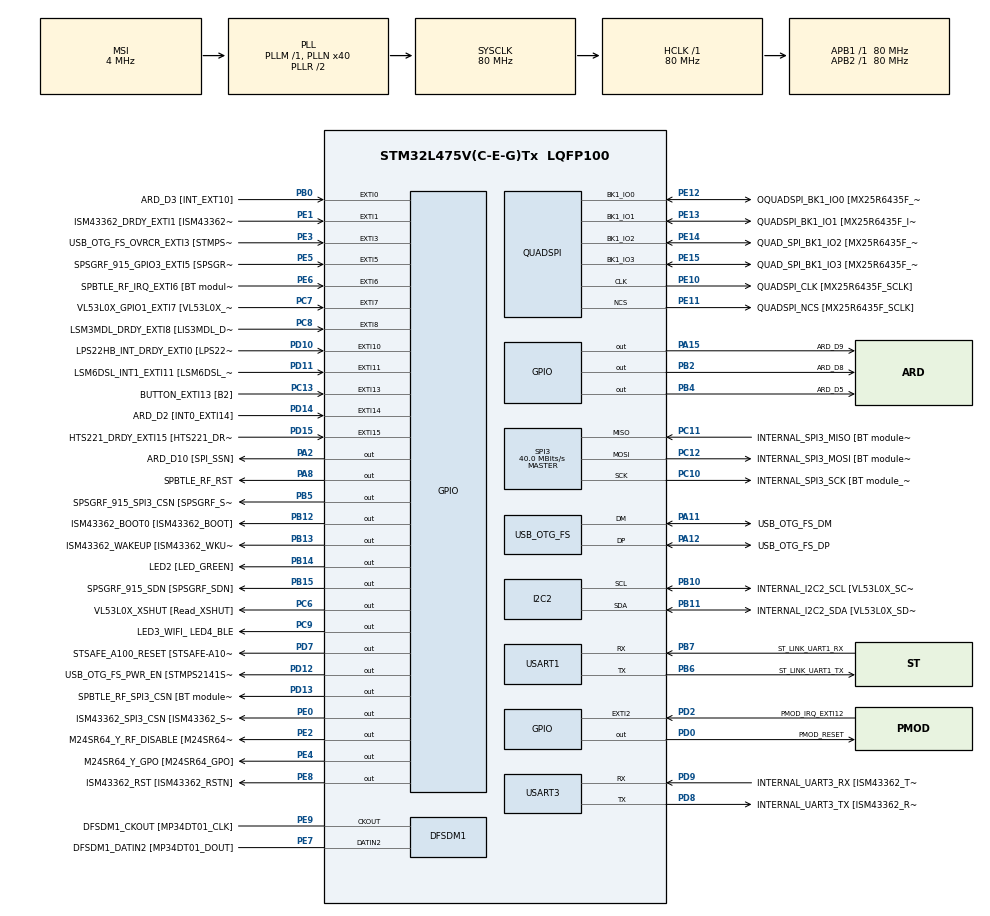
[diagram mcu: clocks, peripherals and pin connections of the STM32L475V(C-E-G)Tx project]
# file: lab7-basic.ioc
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Mcu.Family=STM32L4
Mcu.Name=STM32L475V(C-E-G)Tx
Mcu.Package=LQFP100
NVIC.EXTI15_10_IRQn=true\:0\:0\:false\:false\:true\:true\:true\:true
NVIC.EXTI9_5_IRQn=true\:0\:0\:false\:false\:true\:true\:true\:true
NVIC.PriorityGroup=NVIC_PRIORITYGROUP_4
PA0.GPIO_Label=ARD_D1 [UART4_TX]
PA0.Signal=UART4_TX
PA1.GPIO_Label=ARD_D0 [UART4_RX]
PA1.Signal=UART4_RX
PA10.GPIO_Label=USB_OTG_FS_ID
PA10.Signal=USB_OTG_FS_ID
PA11.GPIO_Label=USB_OTG_FS_DM
PA11.Mode=Device_Only
PA11.Signal=USB_OTG_FS_DM
PA12.GPIO_Label=USB_OTG_FS_DP
PA12.Mode=Device_Only
PA12.Signal=USB_OTG_FS_DP
PA13\ (JTMS-SWDIO).GPIO_Label=SYS_JTMS_SWDIO
PA13\ (JTMS-SWDIO).Mode=Serial_Wire
PA13\ (JTMS-SWDIO).Signal=SYS_JTMS-SWDIO
PA14\ (JTCK-SWCLK).GPIO_Label=SYS_JTCK_SWCLK
PA14\ (JTCK-SWCLK).Mode=Serial_Wire
PA14\ (JTCK-SWCLK).Signal=SYS_JTCK-SWCLK
PA15\ (JTDI).GPIO_Label=ARD_D9
PA15\ (JTDI).Signal=GPIO_Output
PA2.GPIO_Label=ARD_D10 [SPI_SSN]
PA2.Signal=GPIO_Output
PA3.GPIO_Label=ARD_D4
PA3.Signal=S_TIM2_CH4
PA4.GPIO_Label=ARD_D7
PA4.Signal=ADCx_IN9
PA5.GPIO_Label=ARD_D13 [SPI1_SCK]
PA5.Signal=SPI1_SCK
PA6.GPIO_Label=ARD_D12 [SPI1_MISO]
PA6.Signal=SPI1_MISO
PA7.GPIO_Label=ARD_D11 [SPI1_MOSI]
PA7.Signal=SPI1_MOSI
PA8.GPIO_Label=SPBTLE_RF_RST
PA8.Signal=GPIO_Output
PA9.GPIO_Label=USB_OTG_FS_VBUS [STMPS2141STR_OUT]
PA9.Signal=USB_OTG_FS_VBUS
PB0.GPIO_Label=ARD_D3 [INT_EXT10]
PB0.Signal=GPXTI0
PB1.GPIO_Label=ARD_D6 [ADC1_IN6]
PB1.Signal=ADCx_IN16
PB10.GPIO_Label=INTERNAL_I2C2_SCL [VL53L0X_SCL]
PB10.GPIO_Pu=GPIO_PULLUP
PB10.Mode=I2C
PB10.Signal=I2C2_SCL
PB11.GPIO_Label=INTERNAL_I2C2_SDA [VL53L0X_SDA]
PB11.GPIO_Pu=GPIO_PULLUP
PB11.Mode=I2C
PB11.Signal=I2C2_SDA
PB12.GPIO_Label=ISM43362_BOOT0 [ISM43362_BOOT]
PB12.Signal=GPIO_Output
PB13.GPIO_Label=ISM43362_WAKEUP [ISM43362_WKUP]
PB13.Signal=GPIO_Output
PB14.GPIO_Label=LED2 [LED_GREEN]
PB14.Signal=GPIO_Output
PB15.GPIO_Label=SPSGRF_915_SDN [SPSGRF_SDN]
PB15.Signal=GPIO_Output
PB2.GPIO_Label=ARD_D8
PB2.Signal=GPIO_Output
PB3\ (JTDO-TRACESWO).GPIO_Label=SYS_JTD0_SWO
PB3\ (JTDO-TRACESWO).Signal=SYS_JTDO-SWO
PB4\ (NJTRST).GPIO_Label=ARD_D5
PB4\ (NJTRST).Signal=GPIO_Output
PB5.GPIO_Label=SPSGRF_915_SPI3_CSN [SPSGRF_SPI_CS]
PB5.PinState=GPIO_PIN_SET
PB5.Signal=GPIO_Output
PB6.GPIO_Label=ST_LINK_UART1_TX
PB6.Mode=Asynchronous
PB6.Signal=USART1_TX
PB7.GPIO_Label=ST_LINK_UART1_RX
PB7.Mode=Asynchronous
PB7.Signal=USART1_RX
PB8.GPIO_Label=ARD_D15 [I2C1_SCL]
PB8.Signal=I2C1_SCL
PB9.GPIO_Label=ARD_D14 [I2C1_SDA]
PB9.Signal=I2C1_SDA
PC0.GPIO_Label=ARD_A5 [ADC]
PC0.Signal=ADCx_IN1
PC1.GPIO_Label=ARD_A4 [ADC]
PC1.Signal=ADCx_IN2
PC10.GPIO_Label=INTERNAL_SPI3_SCK [BT module_SPI_SCLK] [ISM43362_SCK]
PC10.Mode=Full_Duplex_Master
PC10.Signal=SPI3_SCK
PC11.GPIO_Label=INTERNAL_SPI3_MISO [BT module_SPI_MISO] [ISM43362_MISO]
PC11.Mode=Full_Duplex_Master
PC11.Signal=SPI3_MISO
PC12.GPIO_Label=INTERNAL_SPI3_MOSI [BT module_SPI_MOSI] [ISM43362_MOSI]
PC12.Mode=Full_Duplex_Master
PC12.Signal=SPI3_MOSI
PC13.GPIO_Label=BUTTON_EXTI13 [B2]
PC13.GPIO_ModeDefaultEXTI=GPIO_MODE_IT_FALLING
PC13.Signal=GPXTI13
PC14-OSC32_IN\ (PC14).Mode=LSE-External-Oscillator
PC14-OSC32_IN\ (PC14).Signal=RCC_OSC32_IN
PC15-OSC32_OUT\ (PC15).Mode=LSE-External-Oscillator
PC15-OSC32_OUT\ (PC15).Signal=RCC_OSC32_OUT
PC2.GPIO_Label=ARD_A3 [ADC]
PC2.Signal=ADCx_IN3
PC3.GPIO_Label=ARD_A2 [ADC]
PC3.Signal=ADCx_IN4
PC4.GPIO_Label=ARD_A1 [ADC]
PC4.Signal=ADCx_IN13
PC5.GPIO_Label=ARD_A0 [ADC]
PC5.Signal=ADCx_IN14
PC6.GPIO_Label=VL53L0X_XSHUT [Read_XSHUT]
PC6.Signal=GPIO_Output
PC7.GPIO_Label=VL53L0X_GPIO1_EXTI7 [VL53L0X_GPIO1]
PC7.Signal=GPXTI7
PC8.GPIO_Label=LSM3MDL_DRDY_EXTI8 [LIS3MDL_DRDY]
PC8.Signal=GPXTI8
PC9.GPIO_Label=LED3_WIFI_ LED4_BLE
PC9.Signal=GPIO_Output
PD0.GPIO_Label=PMOD_RESET
PD0.Signal=GPIO_Output
PD1.GPIO_Label=PMOD_SPI2_SCK
PD1.Signal=SPI2_SCK
PD10.GPIO_Label=LPS22HB_INT_DRDY_EXTI0 [LPS22HB_INT_DRDY] 
PD10.Signal=GPXTI10
PD11.GPIO_Label=LSM6DSL_INT1_EXTI11 [LSM6DSL_INT1]
PD11.Signal=GPXTI11
PD12.GPIO_Label=USB_OTG_FS_PWR_EN [STMPS2141STR_EN]
PD12.Signal=GPIO_Output
PD13.GPIO_Label=SPBTLE_RF_SPI3_CSN [BT module_SPI_CS]
PD13.PinState=GPIO_PIN_SET
PD13.Signal=GPIO_Output
PD14.GPIO_Label=ARD_D2 [INT0_EXTI14]
PD14.Signal=GPXTI14
PD15.GPIO_Label=HTS221_DRDY_EXTI15 [HTS221_DRDY]
PD15.Signal=GPXTI15
PD2.GPIO_Label=PMOD_IRQ_EXTI12
PD2.Signal=GPXTI2
PD3.GPIO_Label=PMOD_UART2_CTS
PD3.Signal=USART2_CTS
PD4.GPIO_Label=PMOD_UART2_RTS
PD4.Signal=USART2_RTS
PD5.GPIO_Label=PMOD_UART2_TX
PD5.Signal=USART2_TX
PD6.GPIO_Label=PMOD_UART2_RX
PD6.Signal=USART2_RX
PD7.GPIO_Label=STSAFE_A100_RESET [STSAFE-A100_RESET]
PD7.Signal=GPIO_Output
PD8.GPIO_Label=INTERNAL_UART3_TX [ISM43362_RX]
PD8.Mode=Asynchronous
PD8.Signal=USART3_TX
PD9.GPIO_Label=INTERNAL_UART3_RX [ISM43362_TX]
PD9.Mode=Asynchronous
PD9.Signal=USART3_RX
PE0.GPIO_Label=ISM43362_SPI3_CSN [ISM43362_SSN]
PE0.PinState=GPIO_PIN_SET
PE0.Signal=GPIO_Output
PE1.GPIO_Label=ISM43362_DRDY_EXTI1 [ISM43362_DATARDY]
PE1.Signal=GPXTI1
PE10.GPIO_Label=QUADSPI_CLK [MX25R6435F_SCLK]
PE10.Mode=Single Bank
PE10.Signal=QUADSPI_CLK
PE11.GPIO_Label=QUADSPI_NCS [MX25R6435F_SCLK]
PE11.Mode=Single Bank
PE11.Signal=QUADSPI_NCS
PE12.GPIO_Label=OQUADSPI_BK1_IO0 [MX25R6435F_IO0]
PE12.Mode=Single Bank
PE12.Signal=QUADSPI_BK1_IO0
PE13.GPIO_Label=QUADSPI_BK1_IO1 [MX25R6435F_IO1]
PE13.Mode=Single Bank
PE13.Signal=QUADSPI_BK1_IO1
PE14.GPIO_Label=QUAD_SPI_BK1_IO2 [MX25R6435F_IO2]
PE14.Mode=Single Bank
PE14.Signal=QUADSPI_BK1_IO2
PE15.GPIO_Label=QUAD_SPI_BK1_IO3 [MX25R6435F_IO3]
PE15.Mode=Single Bank
PE15.Signal=QUADSPI_BK1_IO3
PE2.GPIO_Label=M24SR64_Y_RF_DISABLE [M24SR64_RFDIS]
PE2.Signal=GPIO_Output
PE3.GPIO_Label=USB_OTG_FS_OVRCR_EXTI3 [STMPS2141STR_FAULT]
PE3.Signal=GPXTI3
PE4.GPIO_Label=M24SR64_Y_GPO [M24SR64_GPO]
PE4.Signal=GPIO_Output
PE5.GPIO_Label=SPSGRF_915_GPIO3_EXTI5 [SPSGRF_GPIO_3]
PE5.Signal=GPXTI5
PE6.GPIO_Label=SPBTLE_RF_IRQ_EXTI6 [BT module_SPI_IRQ]
PE6.Signal=GPXTI6
PE7.GPIO_Label=DFSDM1_DATIN2 [MP34DT01_DOUT]
PE7.Signal=S_DATAIN2DFSDM1
PE8.GPIO_Label=ISM43362_RST [ISM43362_RSTN]
PE8.Signal=GPIO_Output
PE9.GPIO_Label=DFSDM1_CKOUT [MP34DT01_CLK]
PE9.Signal=S_CKOUTDFSDM1
ProjectManager.HeapSize=0x200
ProjectManager.StackSize=0x400
ProjectManager.TargetToolchain=STM32CubeIDE
QUADSPI.ClockPrescaler=2
QUADSPI.FifoThreshold=4
QUADSPI.FlashSize=23
QUADSPI.SampleShifting=QSPI_SAMPLE_SHIFTING_HALFCYCLE
RCC.ADCFreq_Value=48000000
RCC.AHBFreq_Value=80000000
RCC.APB1Freq_Value=80000000
RCC.APB1TimFreq_Value=80000000
RCC.APB2Freq_Value=80000000
RCC.APB2TimFreq_Value=80000000
RCC.CortexFreq_Value=80000000
RCC.HCLKFreq_Value=80000000
RCC.HSE_VALUE=8000000
RCC.HSI_VALUE=16000000
RCC.MSI_VALUE=4000000
RCC.PLLN=40
RCC.PLLSAI1N=24
RCC.SYSCLKFreq_VALUE=80000000
RCC.SYSCLKSource=RCC_SYSCLKSOURCE_PLLCLK
RCC.USBFreq_Value=48000000
RCC.VCOOutputFreq_Value=160000000
SH.ADCx_IN1.0=ADC1_IN1
SH.ADCx_IN13.0=ADC1_IN13
SH.ADCx_IN14.0=ADC1_IN14
SH.ADCx_IN16.0=ADC1_IN16
SH.ADCx_IN2.0=ADC1_IN2
SH.ADCx_IN3.0=ADC1_IN3
SH.ADCx_IN4.0=ADC1_IN4
SH.ADCx_IN9.0=ADC1_IN9
SH.S_CKOUTDFSDM1.0=DFSDM1_CKOUT,CKOUT
SH.S_CKOUTDFSDM1.1=DFSDM1_CKOUT,PDM_SPI_Input_from_ch12_and_Internal_Clock
SH.S_DATAIN2DFSDM1.0=DFSDM1_DATIN2,PDM_SPI_Input_from_ch12_and_Internal_Clock
SH.S_TIM2_CH4.0=TIM2_CH4
SPI3.CalculateBaudRate=40.0 MBits/s
SPI3.Direction=SPI_DIRECTION_2LINES
SPI3.Mode=SPI_MODE_MASTER
SPI3.VirtualType=VM_MASTER
USART1.VirtualMode-Asynchronous=VM_ASYNC
USART3.VirtualMode-Asynchronous=VM_ASYNC
USB_OTG_FS.VirtualMode=Device_Only
board=B-L475E-IOT01A1

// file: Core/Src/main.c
/* USER CODE BEGIN Header */
/**
  ******************************************************************************
  * @file           : main.c
  * @brief          : Main program body
  ******************************************************************************
  * @attention
  *
  * Copyright (c) 2026 STMicroelectronics.
  * All rights reserved.
  *
  * This software is licensed under terms that can be found in the LICENSE file
  * in the root directory of this software component.
  * If no LICENSE file comes with this software, it is provided AS-IS.
  *
  ******************************************************************************
  */
/* USER CODE END Header */
#include "main.h"

/* USER CODE BEGIN Includes */
#include "arm_math.h"
#include "math_helper.h"
#include <stdio.h>
/* USER CODE END Includes */

DFSDM_Channel_HandleTypeDef hdfsdm1_channel1;

I2C_HandleTypeDef hi2c2;

QSPI_HandleTypeDef hqspi;

SPI_HandleTypeDef hspi3;

UART_HandleTypeDef huart1;
UART_HandleTypeDef huart3;

PCD_HandleTypeDef hpcd_USB_OTG_FS;

/* USER CODE BEGIN PV */
#define TEST_LENGTH_SAMPLES  320
#define blockSize            32
#define NUM_TAPS             29
#define SNR_THRESHOLD_F32    140.0f

/* 宣告在 arm_fir_data.c 中的外部變數 */
extern float32_t testInput_f32_1kHz_15kHz[TEST_LENGTH_SAMPLES];
extern float32_t refOutput[TEST_LENGTH_SAMPLES];
extern const float32_t firCoeffs32[NUM_TAPS];

/* 運算緩衝區 */
static float32_t testOutput[TEST_LENGTH_SAMPLES];
static float32_t firStateF32[blockSize + NUM_TAPS - 1];
/* USER CODE END PV */

void SystemClock_Config(void);
static void MX_GPIO_Init(void);
static void MX_DFSDM1_Init(void);
static void MX_I2C2_Init(void);
static void MX_QUADSPI_Init(void);
static void MX_SPI3_Init(void);
static void MX_USART1_UART_Init(void);
static void MX_USART3_UART_Init(void);
static void MX_USB_OTG_FS_PCD_Init(void);

/* USER CODE BEGIN 0 */
int __io_putchar(int ch)
{
  /* 注意：請確認你的 UART 句柄名稱為 huart1 (與 CubeMX 設定一致) */
  HAL_UART_Transmit(&huart1, (uint8_t *)&ch, 1, 0xFFFF);
  return ch;
}
/* USER CODE END 0 */

int main(void)
{

  /* MCU Configuration--------------------------------------------------------*/

  /* Reset of all peripherals, Initializes the Flash interface and the Systick. */
  HAL_Init();

  /* Configure the system clock */
  SystemClock_Config();

  /* Initialize all configured peripherals */
  MX_GPIO_Init();
  MX_DFSDM1_Init();
  MX_I2C2_Init();
  MX_QUADSPI_Init();
  MX_SPI3_Init();
  MX_USART1_UART_Init();
  MX_USART3_UART_Init();
  MX_USB_OTG_FS_PCD_Init();
  /* USER CODE BEGIN 2 */

  printf("\r\n--- STM32 DSP Lab Start ---\r\n"); // 先加這一行測試
  HAL_Delay(100); // 稍微延遲讓 UART 穩定

  uint32_t i;
  uint32_t numBlocks = TEST_LENGTH_SAMPLES / blockSize;
  arm_fir_instance_f32 S;
  arm_status status;
  float32_t snr;
  float32_t *inputF32, *outputF32;

  /* 1. 初始化輸入輸出指標 [cite: 410, 411] */
  inputF32 = &testInput_f32_1kHz_15kHz[0];
  outputF32 = &testOutput[0];

  /* 2. 初始化 FIR 結構 (注意係數在 arm_fir_data.c 中應已翻轉) [cite: 298, 413] */
  arm_fir_init_f32(&S, NUM_TAPS, (float32_t *)&firCoeffs32[0], &firStateF32[0], blockSize);

  /* 3. 分段執行濾波處理 [cite: 419-422] */
  for(i=0; i < numBlocks; i++)
  {
      arm_fir_f32(&S, inputF32 + (i * blockSize), outputF32 + (i * blockSize), blockSize);
  }

  /* 4. 計算 SNR 驗證結果是否正確 [cite: 429-431] */
  snr = arm_snr_f32(&refOutput[0], &testOutput[0], TEST_LENGTH_SAMPLES);

  if (snr < SNR_THRESHOLD_F32) {
        status = ARM_MATH_TEST_FAILURE;
        printf("Result: FAILURE (SNR: %f)\n", snr);
    } else {
        status = ARM_MATH_SUCCESS;
        printf("Result: SUCCESS (SNR: %f)\n", snr);
    }

    // 加入這一行來消除警告，代表我們有意識地使用這個變數
    (void)status;

    printf("\r\n--- Starting Real-Time Sensor Filtering ---\r\n");

    /* 1. 初始化 LSM6DSL 加速度計 (透過 I2C2) */
    #define LSM6DSL_I2C_ADDR 0xD4  // LSM6DSL 在這塊板子上的 I2C 位址
    uint8_t reg_ctrl1_xl = 0x50;   // 設定值：開啟加速度計，設定為 208Hz

    // 寫入 0x10 (CTRL1_XL 暫存器) 來啟動感測器
    HAL_I2C_Mem_Write(&hi2c2, LSM6DSL_I2C_ADDR, 0x10, 1, &reg_ctrl1_xl, 1, 100);

    /* 2. 重新初始化 FIR 濾波器，將 blockSize 設為 1 (每次處理一個點) */
    arm_fir_init_f32(&S, NUM_TAPS, (float32_t *)&firCoeffs32[0], &firStateF32[0], 1);

    /* USER CODE END 2 */

    /* Infinite loop */
      /* USER CODE BEGIN WHILE */
      while (1)
      {
          /* 3. 讀取 Z 軸加速度的原始資料 */
          uint8_t z_data[2];
          // 讀取 OUTZ_L_XL (0x2C) 和 OUTZ_H_XL (0x2D) 兩個暫存器
          HAL_I2C_Mem_Read(&hi2c2, LSM6DSL_I2C_ADDR, 0x2C, 1, z_data, 2, 100);

          // 將兩個 8-bit 資料組合成 16-bit 有號整數
          int16_t raw_z = (int16_t)((z_data[1] << 8) | z_data[0]);

          /* 4. 進行 FIR 即時濾波 */
          float32_t sensor_input = (float32_t)raw_z;
          float32_t filtered_output;

          // 每次處理 1 個資料點
          arm_fir_f32(&S, &sensor_input, &filtered_output, 1);

          /* 5. 輸出結果到序列埠 (格式: 原始資料, 濾波後資料) */
          // 把原本的 \n 改成 \r\n
          printf("%.1f, %.1f\r\n", sensor_input, filtered_output);

          // 讓 LED 稍微閃爍，確認程式活著
          HAL_GPIO_TogglePin(LED2_GPIO_Port, LED2_Pin);

          // 延遲 10 毫秒 (大約 100Hz 取樣率)
          HAL_Delay(10);

        /* USER CODE END WHILE */

  }
}

void SystemClock_Config(void)
{
  RCC_OscInitTypeDef RCC_OscInitStruct = {0};
  RCC_ClkInitTypeDef RCC_ClkInitStruct = {0};

  /** Configure the main internal regulator output voltage
  */
  if (HAL_PWREx_ControlVoltageScaling(PWR_REGULATOR_VOLTAGE_SCALE1) != HAL_OK)
  {
    Error_Handler();
  }

  /** Configure LSE Drive Capability
  */
  HAL_PWR_EnableBkUpAccess();
  __HAL_RCC_LSEDRIVE_CONFIG(RCC_LSEDRIVE_LOW);

  /** Initializes the RCC Oscillators according to the specified parameters
  * in the RCC_OscInitTypeDef structure.
  */
  RCC_OscInitStruct.OscillatorType = RCC_OSCILLATORTYPE_LSE|RCC_OSCILLATORTYPE_MSI;
  RCC_OscInitStruct.LSEState = RCC_LSE_ON;
  RCC_OscInitStruct.MSIState = RCC_MSI_ON;
  RCC_OscInitStruct.MSICalibrationValue = 0;
  RCC_OscInitStruct.MSIClockRange = RCC_MSIRANGE_6;
  RCC_OscInitStruct.PLL.PLLState = RCC_PLL_ON;
  RCC_OscInitStruct.PLL.PLLSource = RCC_PLLSOURCE_MSI;
  RCC_OscInitStruct.PLL.PLLM = 1;
  RCC_OscInitStruct.PLL.PLLN = 40;
  RCC_OscInitStruct.PLL.PLLP = RCC_PLLP_DIV7;
  RCC_OscInitStruct.PLL.PLLQ = RCC_PLLQ_DIV2;
  RCC_OscInitStruct.PLL.PLLR = RCC_PLLR_DIV2;
  if (HAL_RCC_OscConfig(&RCC_OscInitStruct) != HAL_OK)
  {
    Error_Handler();
  }

  /** Initializes the CPU, AHB and APB buses clocks
  */
  RCC_ClkInitStruct.ClockType = RCC_CLOCKTYPE_HCLK|RCC_CLOCKTYPE_SYSCLK
                              |RCC_CLOCKTYPE_PCLK1|RCC_CLOCKTYPE_PCLK2;
  RCC_ClkInitStruct.SYSCLKSource = RCC_SYSCLKSOURCE_PLLCLK;
  RCC_ClkInitStruct.AHBCLKDivider = RCC_SYSCLK_DIV1;
  RCC_ClkInitStruct.APB1CLKDivider = RCC_HCLK_DIV1;
  RCC_ClkInitStruct.APB2CLKDivider = RCC_HCLK_DIV1;

  if (HAL_RCC_ClockConfig(&RCC_ClkInitStruct, FLASH_LATENCY_4) != HAL_OK)
  {
    Error_Handler();
  }

  /** Enable MSI Auto calibration
  */
  HAL_RCCEx_EnableMSIPLLMode();
}

static void MX_DFSDM1_Init(void)
{

  hdfsdm1_channel1.Instance = DFSDM1_Channel1;
  hdfsdm1_channel1.Init.OutputClock.Activation = ENABLE;
  hdfsdm1_channel1.Init.OutputClock.Selection = DFSDM_CHANNEL_OUTPUT_CLOCK_SYSTEM;
  hdfsdm1_channel1.Init.OutputClock.Divider = 2;
  hdfsdm1_channel1.Init.Input.Multiplexer = DFSDM_CHANNEL_EXTERNAL_INPUTS;
  hdfsdm1_channel1.Init.Input.DataPacking = DFSDM_CHANNEL_STANDARD_MODE;
  hdfsdm1_channel1.Init.Input.Pins = DFSDM_CHANNEL_FOLLOWING_CHANNEL_PINS;
  hdfsdm1_channel1.Init.SerialInterface.Type = DFSDM_CHANNEL_SPI_RISING;
  hdfsdm1_channel1.Init.SerialInterface.SpiClock = DFSDM_CHANNEL_SPI_CLOCK_INTERNAL;
  hdfsdm1_channel1.Init.Awd.FilterOrder = DFSDM_CHANNEL_FASTSINC_ORDER;
  hdfsdm1_channel1.Init.Awd.Oversampling = 1;
  hdfsdm1_channel1.Init.Offset = 0;
  hdfsdm1_channel1.Init.RightBitShift = 0x00;
  if (HAL_DFSDM_ChannelInit(&hdfsdm1_channel1) != HAL_OK)
  {
    Error_Handler();
  }

}

static void MX_I2C2_Init(void)
{

  hi2c2.Instance = I2C2;
  hi2c2.Init.Timing = 0x00000E14;
  hi2c2.Init.OwnAddress1 = 0;
  hi2c2.Init.AddressingMode = I2C_ADDRESSINGMODE_7BIT;
  hi2c2.Init.DualAddressMode = I2C_DUALADDRESS_DISABLE;
  hi2c2.Init.OwnAddress2 = 0;
  hi2c2.Init.OwnAddress2Masks = I2C_OA2_NOMASK;
  hi2c2.Init.GeneralCallMode = I2C_GENERALCALL_DISABLE;
  hi2c2.Init.NoStretchMode = I2C_NOSTRETCH_DISABLE;
  if (HAL_I2C_Init(&hi2c2) != HAL_OK)
  {
    Error_Handler();
  }

  /** Configure Analogue filter
  */
  if (HAL_I2CEx_ConfigAnalogFilter(&hi2c2, I2C_ANALOGFILTER_ENABLE) != HAL_OK)
  {
    Error_Handler();
  }

  /** Configure Digital filter
  */
  if (HAL_I2CEx_ConfigDigitalFilter(&hi2c2, 0) != HAL_OK)
  {
    Error_Handler();
  }

}

static void MX_QUADSPI_Init(void)
{

  /* QUADSPI parameter configuration*/
  hqspi.Instance = QUADSPI;
  hqspi.Init.ClockPrescaler = 2;
  hqspi.Init.FifoThreshold = 4;
  hqspi.Init.SampleShifting = QSPI_SAMPLE_SHIFTING_HALFCYCLE;
  hqspi.Init.FlashSize = 23;
  hqspi.Init.ChipSelectHighTime = QSPI_CS_HIGH_TIME_1_CYCLE;
  hqspi.Init.ClockMode = QSPI_CLOCK_MODE_0;
  if (HAL_QSPI_Init(&hqspi) != HAL_OK)
  {
    Error_Handler();
  }

}

static void MX_SPI3_Init(void)
{

  /* SPI3 parameter configuration*/
  hspi3.Instance = SPI3;
  hspi3.Init.Mode = SPI_MODE_MASTER;
  hspi3.Init.Direction = SPI_DIRECTION_2LINES;
  hspi3.Init.DataSize = SPI_DATASIZE_4BIT;
  hspi3.Init.CLKPolarity = SPI_POLARITY_LOW;
  hspi3.Init.CLKPhase = SPI_PHASE_1EDGE;
  hspi3.Init.NSS = SPI_NSS_SOFT;
  hspi3.Init.BaudRatePrescaler = SPI_BAUDRATEPRESCALER_2;
  hspi3.Init.FirstBit = SPI_FIRSTBIT_MSB;
  hspi3.Init.TIMode = SPI_TIMODE_DISABLE;
  hspi3.Init.CRCCalculation = SPI_CRCCALCULATION_DISABLE;
  hspi3.Init.CRCPolynomial = 7;
  hspi3.Init.CRCLength = SPI_CRC_LENGTH_DATASIZE;
  hspi3.Init.NSSPMode = SPI_NSS_PULSE_ENABLE;
  if (HAL_SPI_Init(&hspi3) != HAL_OK)
  {
    Error_Handler();
  }

}

static void MX_USART1_UART_Init(void)
{

  huart1.Instance = USART1;
  huart1.Init.BaudRate = 115200;
  huart1.Init.WordLength = UART_WORDLENGTH_8B;
  huart1.Init.StopBits = UART_STOPBITS_1;
  huart1.Init.Parity = UART_PARITY_NONE;
  huart1.Init.Mode = UART_MODE_TX_RX;
  huart1.Init.HwFlowCtl = UART_HWCONTROL_NONE;
  huart1.Init.OverSampling = UART_OVERSAMPLING_16;
  huart1.Init.OneBitSampling = UART_ONE_BIT_SAMPLE_DISABLE;
  huart1.AdvancedInit.AdvFeatureInit = UART_ADVFEATURE_NO_INIT;
  if (HAL_UART_Init(&huart1) != HAL_OK)
  {
    Error_Handler();
  }

}

static void MX_USART3_UART_Init(void)
{

  huart3.Instance = USART3;
  huart3.Init.BaudRate = 115200;
  huart3.Init.WordLength = UART_WORDLENGTH_8B;
  huart3.Init.StopBits = UART_STOPBITS_1;
  huart3.Init.Parity = UART_PARITY_NONE;
  huart3.Init.Mode = UART_MODE_TX_RX;
  huart3.Init.HwFlowCtl = UART_HWCONTROL_NONE;
  huart3.Init.OverSampling = UART_OVERSAMPLING_16;
  huart3.Init.OneBitSampling = UART_ONE_BIT_SAMPLE_DISABLE;
  huart3.AdvancedInit.AdvFeatureInit = UART_ADVFEATURE_NO_INIT;
  if (HAL_UART_Init(&huart3) != HAL_OK)
  {
    Error_Handler();
  }

}

static void MX_USB_OTG_FS_PCD_Init(void)
{

  hpcd_USB_OTG_FS.Instance = USB_OTG_FS;
  hpcd_USB_OTG_FS.Init.dev_endpoints = 6;
  hpcd_USB_OTG_FS.Init.speed = PCD_SPEED_FULL;
  hpcd_USB_OTG_FS.Init.phy_itface = PCD_PHY_EMBEDDED;
  hpcd_USB_OTG_FS.Init.Sof_enable = DISABLE;
  hpcd_USB_OTG_FS.Init.low_power_enable = DISABLE;
  hpcd_USB_OTG_FS.Init.lpm_enable = DISABLE;
  hpcd_USB_OTG_FS.Init.battery_charging_enable = DISABLE;
  hpcd_USB_OTG_FS.Init.use_dedicated_ep1 = DISABLE;
  hpcd_USB_OTG_FS.Init.vbus_sensing_enable = DISABLE;
  if (HAL_PCD_Init(&hpcd_USB_OTG_FS) != HAL_OK)
  {
    Error_Handler();
  }

}

static void MX_GPIO_Init(void)
{
  GPIO_InitTypeDef GPIO_InitStruct = {0};

  /* GPIO Ports Clock Enable */
  __HAL_RCC_GPIOE_CLK_ENABLE();
  __HAL_RCC_GPIOC_CLK_ENABLE();
  __HAL_RCC_GPIOA_CLK_ENABLE();
  __HAL_RCC_GPIOB_CLK_ENABLE();
  __HAL_RCC_GPIOD_CLK_ENABLE();

  /*Configure GPIO pin Output Level */
  HAL_GPIO_WritePin(GPIOE, M24SR64_Y_RF_DISABLE_Pin|M24SR64_Y_GPO_Pin|ISM43362_RST_Pin, GPIO_PIN_RESET);

  /*Configure GPIO pin Output Level */
  HAL_GPIO_WritePin(GPIOA, ARD_D10_Pin|SPBTLE_RF_RST_Pin|ARD_D9_Pin, GPIO_PIN_RESET);

  /*Configure GPIO pin Output Level */
  HAL_GPIO_WritePin(GPIOB, ARD_D8_Pin|ISM43362_BOOT0_Pin|ISM43362_WAKEUP_Pin|LED2_Pin
                          |SPSGRF_915_SDN_Pin|ARD_D5_Pin, GPIO_PIN_RESET);

  /*Configure GPIO pin Output Level */
  HAL_GPIO_WritePin(GPIOD, USB_OTG_FS_PWR_EN_Pin|PMOD_RESET_Pin|STSAFE_A100_RESET_Pin, GPIO_PIN_RESET);

  /*Configure GPIO pin Output Level */
  HAL_GPIO_WritePin(SPBTLE_RF_SPI3_CSN_GPIO_Port, SPBTLE_RF_SPI3_CSN_Pin, GPIO_PIN_SET);

  /*Configure GPIO pin Output Level */
  HAL_GPIO_WritePin(GPIOC, VL53L0X_XSHUT_Pin|LED3_WIFI__LED4_BLE_Pin, GPIO_PIN_RESET);

  /*Configure GPIO pin Output Level */
  HAL_GPIO_WritePin(SPSGRF_915_SPI3_CSN_GPIO_Port, SPSGRF_915_SPI3_CSN_Pin, GPIO_PIN_SET);

  /*Configure GPIO pin Output Level */
  HAL_GPIO_WritePin(ISM43362_SPI3_CSN_GPIO_Port, ISM43362_SPI3_CSN_Pin, GPIO_PIN_SET);

  /*Configure GPIO pins : M24SR64_Y_RF_DISABLE_Pin M24SR64_Y_GPO_Pin ISM43362_RST_Pin ISM43362_SPI3_CSN_Pin */
  GPIO_InitStruct.Pin = M24SR64_Y_RF_DISABLE_Pin|M24SR64_Y_GPO_Pin|ISM43362_RST_Pin|ISM43362_SPI3_CSN_Pin;
  GPIO_InitStruct.Mode = GPIO_MODE_OUTPUT_PP;
  GPIO_InitStruct.Pull = GPIO_NOPULL;
  GPIO_InitStruct.Speed = GPIO_SPEED_FREQ_LOW;
  HAL_GPIO_Init(GPIOE, &GPIO_InitStruct);

  /*Configure GPIO pins : USB_OTG_FS_OVRCR_EXTI3_Pin SPSGRF_915_GPIO3_EXTI5_Pin SPBTLE_RF_IRQ_EXTI6_Pin ISM43362_DRDY_EXTI1_Pin */
  GPIO_InitStruct.Pin = USB_OTG_FS_OVRCR_EXTI3_Pin|SPSGRF_915_GPIO3_EXTI5_Pin|SPBTLE_RF_IRQ_EXTI6_Pin|ISM43362_DRDY_EXTI1_Pin;
  GPIO_InitStruct.Mode = GPIO_MODE_IT_RISING;
  GPIO_InitStruct.Pull = GPIO_NOPULL;
  HAL_GPIO_Init(GPIOE, &GPIO_InitStruct);

  /*Configure GPIO pin : BUTTON_EXTI13_Pin */
  GPIO_InitStruct.Pin = BUTTON_EXTI13_Pin;
  GPIO_InitStruct.Mode = GPIO_MODE_IT_FALLING;
  GPIO_InitStruct.Pull = GPIO_NOPULL;
  HAL_GPIO_Init(BUTTON_EXTI13_GPIO_Port, &GPIO_InitStruct);

  /*Configure GPIO pins : ARD_A5_Pin ARD_A4_Pin ARD_A3_Pin ARD_A2_Pin
                           ARD_A1_Pin ARD_A0_Pin */
  GPIO_InitStruct.Pin = ARD_A5_Pin|ARD_A4_Pin|ARD_A3_Pin|ARD_A2_Pin
                          |ARD_A1_Pin|ARD_A0_Pin;
  GPIO_InitStruct.Mode = GPIO_MODE_ANALOG_ADC_CONTROL;
  GPIO_InitStruct.Pull = GPIO_NOPULL;
  HAL_GPIO_Init(GPIOC, &GPIO_InitStruct);

  /*Configure GPIO pins : ARD_D1_Pin ARD_D0_Pin */
  GPIO_InitStruct.Pin = ARD_D1_Pin|ARD_D0_Pin;
  GPIO_InitStruct.Mode = GPIO_MODE_AF_PP;
  GPIO_InitStruct.Pull = GPIO_NOPULL;
  GPIO_InitStruct.Speed = GPIO_SPEED_FREQ_VERY_HIGH;
  GPIO_InitStruct.Alternate = GPIO_AF8_UART4;
  HAL_GPIO_Init(GPIOA, &GPIO_InitStruct);

  /*Configure GPIO pins : ARD_D10_Pin SPBTLE_RF_RST_Pin ARD_D9_Pin */
  GPIO_InitStruct.Pin = ARD_D10_Pin|SPBTLE_RF_RST_Pin|ARD_D9_Pin;
  GPIO_InitStruct.Mode = GPIO_MODE_OUTPUT_PP;
  GPIO_InitStruct.Pull = GPIO_NOPULL;
  GPIO_InitStruct.Speed = GPIO_SPEED_FREQ_LOW;
  HAL_GPIO_Init(GPIOA, &GPIO_InitStruct);

  /*Configure GPIO pin : ARD_D4_Pin */
  GPIO_InitStruct.Pin = ARD_D4_Pin;
  GPIO_InitStruct.Mode = GPIO_MODE_AF_PP;
  GPIO_InitStruct.Pull = GPIO_NOPULL;
  GPIO_InitStruct.Speed = GPIO_SPEED_FREQ_LOW;
  GPIO_InitStruct.Alternate = GPIO_AF1_TIM2;
  HAL_GPIO_Init(ARD_D4_GPIO_Port, &GPIO_InitStruct);

  /*Configure GPIO pin : ARD_D7_Pin */
  GPIO_InitStruct.Pin = ARD_D7_Pin;
  GPIO_InitStruct.Mode = GPIO_MODE_ANALOG_ADC_CONTROL;
  GPIO_InitStruct.Pull = GPIO_NOPULL;
  HAL_GPIO_Init(ARD_D7_GPIO_Port, &GPIO_InitStruct);

  /*Configure GPIO pins : ARD_D13_Pin ARD_D12_Pin ARD_D11_Pin */
  GPIO_InitStruct.Pin = ARD_D13_Pin|ARD_D12_Pin|ARD_D11_Pin;
  GPIO_InitStruct.Mode = GPIO_MODE_AF_PP;
  GPIO_InitStruct.Pull = GPIO_NOPULL;
  GPIO_InitStruct.Speed = GPIO_SPEED_FREQ_VERY_HIGH;
  GPIO_InitStruct.Alternate = GPIO_AF5_SPI1;
  HAL_GPIO_Init(GPIOA, &GPIO_InitStruct);

  /*Configure GPIO pin : ARD_D3_Pin */
  GPIO_InitStruct.Pin = ARD_D3_Pin;
  GPIO_InitStruct.Mode = GPIO_MODE_IT_RISING;
  GPIO_InitStruct.Pull = GPIO_NOPULL;
  HAL_GPIO_Init(ARD_D3_GPIO_Port, &GPIO_InitStruct);

  /*Configure GPIO pin : ARD_D6_Pin */
  GPIO_InitStruct.Pin = ARD_D6_Pin;
  GPIO_InitStruct.Mode = GPIO_MODE_ANALOG_ADC_CONTROL;
  GPIO_InitStruct.Pull = GPIO_NOPULL;
  HAL_GPIO_Init(ARD_D6_GPIO_Port, &GPIO_InitStruct);

  /*Configure GPIO pins : ARD_D8_Pin ISM43362_BOOT0_Pin ISM43362_WAKEUP_Pin LED2_Pin
                           SPSGRF_915_SDN_Pin ARD_D5_Pin SPSGRF_915_SPI3_CSN_Pin */
  GPIO_InitStruct.Pin = ARD_D8_Pin|ISM43362_BOOT0_Pin|ISM43362_WAKEUP_Pin|LED2_Pin
                          |SPSGRF_915_SDN_Pin|ARD_D5_Pin|SPSGRF_915_SPI3_CSN_Pin;
  GPIO_InitStruct.Mode = GPIO_MODE_OUTPUT_PP;
  GPIO_InitStruct.Pull = GPIO_NOPULL;
  GPIO_InitStruct.Speed = GPIO_SPEED_FREQ_LOW;
  HAL_GPIO_Init(GPIOB, &GPIO_InitStruct);

  /*Configure GPIO pins : LPS22HB_INT_DRDY_EXTI0_Pin LSM6DSL_INT1_EXTI11_Pin ARD_D2_Pin HTS221_DRDY_EXTI15_Pin
                           PMOD_IRQ_EXTI12_Pin */
  GPIO_InitStruct.Pin = LPS22HB_INT_DRDY_EXTI0_Pin|LSM6DSL_INT1_EXTI11_Pin|ARD_D2_Pin|HTS221_DRDY_EXTI15_Pin
                          |PMOD_IRQ_EXTI12_Pin;
  GPIO_InitStruct.Mode = GPIO_MODE_IT_RISING;
  GPIO_InitStruct.Pull = GPIO_NOPULL;
  HAL_GPIO_Init(GPIOD, &GPIO_InitStruct);

  /*Configure GPIO pins : USB_OTG_FS_PWR_EN_Pin SPBTLE_RF_SPI3_CSN_Pin PMOD_RESET_Pin STSAFE_A100_RESET_Pin */
  GPIO_InitStruct.Pin = USB_OTG_FS_PWR_EN_Pin|SPBTLE_RF_SPI3_CSN_Pin|PMOD_RESET_Pin|STSAFE_A100_RESET_Pin;
  GPIO_InitStruct.Mode = GPIO_MODE_OUTPUT_PP;
  GPIO_InitStruct.Pull = GPIO_NOPULL;
  GPIO_InitStruct.Speed = GPIO_SPEED_FREQ_LOW;
  HAL_GPIO_Init(GPIOD, &GPIO_InitStruct);

  /*Configure GPIO pins : VL53L0X_XSHUT_Pin LED3_WIFI__LED4_BLE_Pin */
  GPIO_InitStruct.Pin = VL53L0X_XSHUT_Pin|LED3_WIFI__LED4_BLE_Pin;
  GPIO_InitStruct.Mode = GPIO_MODE_OUTPUT_PP;
  GPIO_InitStruct.Pull = GPIO_NOPULL;
  GPIO_InitStruct.Speed = GPIO_SPEED_FREQ_LOW;
  HAL_GPIO_Init(GPIOC, &GPIO_InitStruct);

  /*Configure GPIO pins : VL53L0X_GPIO1_EXTI7_Pin LSM3MDL_DRDY_EXTI8_Pin */
  GPIO_InitStruct.Pin = VL53L0X_GPIO1_EXTI7_Pin|LSM3MDL_DRDY_EXTI8_Pin;
  GPIO_InitStruct.Mode = GPIO_MODE_IT_RISING;
  GPIO_InitStruct.Pull = GPIO_NOPULL;
  HAL_GPIO_Init(GPIOC, &GPIO_InitStruct);

  /*Configure GPIO pin : PMOD_SPI2_SCK_Pin */
  GPIO_InitStruct.Pin = PMOD_SPI2_SCK_Pin;
  GPIO_InitStruct.Mode = GPIO_MODE_AF_PP;
  GPIO_InitStruct.Pull = GPIO_NOPULL;
  GPIO_InitStruct.Speed = GPIO_SPEED_FREQ_VERY_HIGH;
  GPIO_InitStruct.Alternate = GPIO_AF5_SPI2;
  HAL_GPIO_Init(PMOD_SPI2_SCK_GPIO_Port, &GPIO_InitStruct);

  /*Configure GPIO pins : PMOD_UART2_CTS_Pin PMOD_UART2_RTS_Pin PMOD_UART2_TX_Pin PMOD_UART2_RX_Pin */
  GPIO_InitStruct.Pin = PMOD_UART2_CTS_Pin|PMOD_UART2_RTS_Pin|PMOD_UART2_TX_Pin|PMOD_UART2_RX_Pin;
  GPIO_InitStruct.Mode = GPIO_MODE_AF_PP;
  GPIO_InitStruct.Pull = GPIO_NOPULL;
  GPIO_InitStruct.Speed = GPIO_SPEED_FREQ_VERY_HIGH;
  GPIO_InitStruct.Alternate = GPIO_AF7_USART2;
  HAL_GPIO_Init(GPIOD, &GPIO_InitStruct);

  /*Configure GPIO pins : ARD_D15_Pin ARD_D14_Pin */
  GPIO_InitStruct.Pin = ARD_D15_Pin|ARD_D14_Pin;
  GPIO_InitStruct.Mode = GPIO_MODE_AF_OD;
  GPIO_InitStruct.Pull = GPIO_NOPULL;
  GPIO_InitStruct.Speed = GPIO_SPEED_FREQ_VERY_HIGH;
  GPIO_InitStruct.Alternate = GPIO_AF4_I2C1;
  HAL_GPIO_Init(GPIOB, &GPIO_InitStruct);

  /* EXTI interrupt init*/
  HAL_NVIC_SetPriority(EXTI9_5_IRQn, 0, 0);
  HAL_NVIC_EnableIRQ(EXTI9_5_IRQn);

  HAL_NVIC_SetPriority(EXTI15_10_IRQn, 0, 0);
  HAL_NVIC_EnableIRQ(EXTI15_10_IRQn);

}

void Error_Handler(void)
{
  __disable_irq();
  while (1)
  {
  }
}
